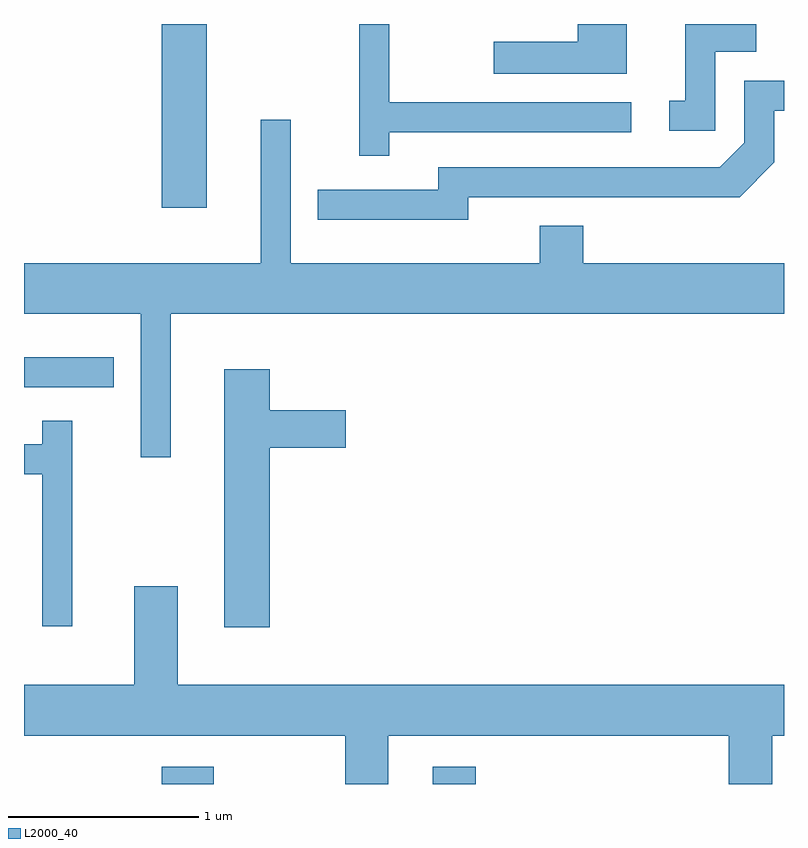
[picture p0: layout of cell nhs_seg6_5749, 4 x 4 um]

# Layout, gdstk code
import gdstk
lib = gdstk.Library(unit=1e-6, precision=1e-09)
def R(c, l, rs):  # rectangles x0, y0, x1, y1
    for r in rs: c.add(gdstk.rectangle(r[:2], r[2:], *l))
def P(c, l, *ps):  # polygons
    for p in ps: c.add(gdstk.Polygon(p, *l))
L2000_40 = (2000, 40)

nhs_seg6_5749 = lib.new_cell('nhs_seg6_5749')
R(nhs_seg6_5749, L2000_40, [(360.336,1614.162,360.609,1614.254), (361.761,1614.162,361.989,1614.254), (359.611,1616.251,360.083,1616.409), (360.336,1617.196,360.574,1618.162)])
P(nhs_seg6_5749, L2000_40, [(363.249,1618.016),(363.464,1618.016),(363.464,1618.162),(363.091,1618.162),(363.091,1617.759),(363.008,1617.759),(363.008,1617.601),(363.249,1617.601)],
  [(361.534,1617.591),(362.808,1617.591),(362.808,1617.749),(361.534,1617.749),(361.534,1618.162),(361.376,1618.162),(361.376,1617.468),(361.534,1617.468)],
  [(362.784,1618.162),(362.526,1618.162),(362.526,1618.069),(362.083,1618.069),(362.083,1617.901),(362.784,1617.901)],
  [(361.949,1617.251),(363.377,1617.251),(363.559,1617.434),(363.559,1617.706),(363.611,1617.706),(363.611,1617.864),(363.401,1617.864),(363.401,1617.537),(363.274,1617.409),(361.791,1617.409),(361.791,1617.289),(361.158,1617.289),(361.158,1617.131),(361.949,1617.131)],
  [(360.384,1616.636),(363.611,1616.636),(363.611,1616.904),(362.554,1616.904),(362.554,1617.099),(362.326,1617.099),(362.326,1616.904),(361.014,1616.904),(361.014,1617.658),(360.856,1617.658),(360.856,1616.904),(359.611,1616.904),(359.611,1616.636),(360.226,1616.636),(360.226,1615.883),(360.384,1615.883)],
  [(360.904,1615.931),(361.304,1615.931),(361.304,1616.129),(360.904,1616.129),(360.904,1616.344),(360.666,1616.344),(360.666,1614.986),(360.904,1614.986)],
  [(359.864,1616.073),(359.706,1616.073),(359.706,1615.949),(359.611,1615.949),(359.611,1615.791),(359.706,1615.791),(359.706,1614.993),(359.864,1614.993)],
  [(361.529,1614.416),(363.321,1614.416),(363.321,1614.162),(363.549,1614.162),(363.549,1614.416),(363.611,1614.416),(363.611,1614.684),(360.419,1614.684),(360.419,1615.204),(360.191,1615.204),(360.191,1614.684),(359.611,1614.684),(359.611,1614.416),(361.301,1614.416),(361.301,1614.162),(361.529,1614.162)])

lib.write_gds('nhs_seg6_5749.gds')
